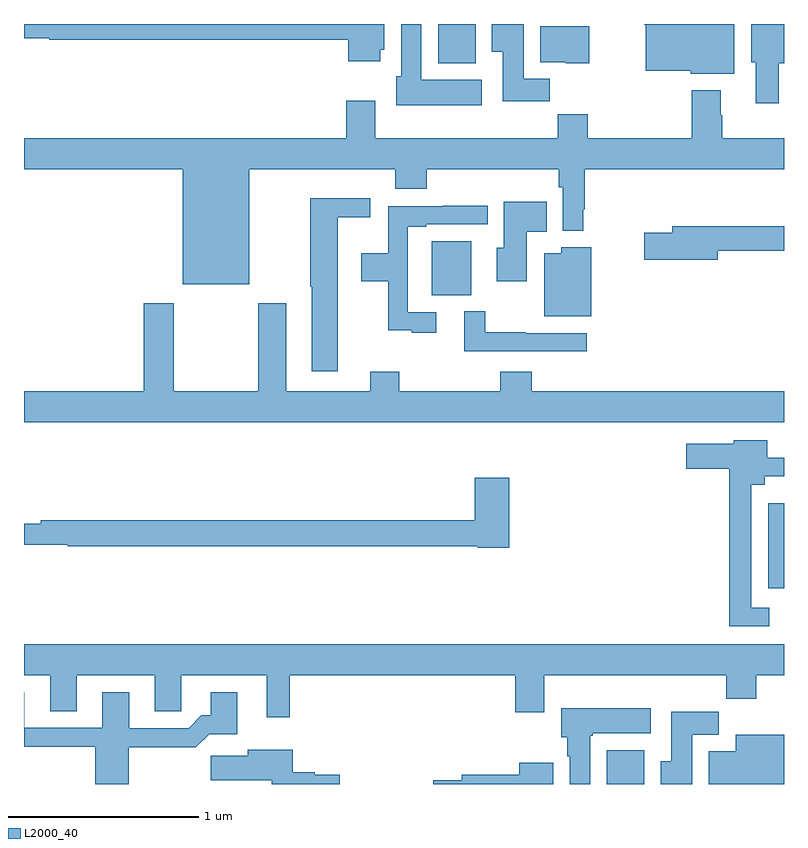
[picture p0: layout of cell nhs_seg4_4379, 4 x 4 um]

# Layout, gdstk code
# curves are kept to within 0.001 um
import gdstk
lib = gdstk.Library(unit=1e-6, precision=1e-09)
def R(c, l, rs):  # rectangles x0, y0, x1, y1
    for r in rs: c.add(gdstk.rectangle(r[:2], r[2:], *l))
def P(c, l, *ps):  # polygons
    for p in ps: c.add(gdstk.Polygon(p, *l))
L2000_40 = (2000, 40)

nhs_seg4_4379 = lib.new_cell('nhs_seg4_4379')
R(nhs_seg4_4379, L2000_40, [(348.068,810.9,348.265,811.078), (348.917,811.929,349,812.377), (347.147,813.473,347.353,813.757), (347.18,814.694,347.377,814.9)])
P(nhs_seg4_4379, L2000_40, [(348.739,814.9),(348.265,814.9),(348.265,814.895),(348.272,814.895),(348.272,814.655),(348.51,814.655),(348.51,814.637),(348.739,814.637)],
  [(347.41,814.606),(347.092,814.606),(347.092,814.9),(346.985,814.9),(346.985,814.626),(346.958,814.626),(346.958,814.472),(347.41,814.472)],
  [(346.876,814.764),(346.897,814.764),(346.897,814.9),(345,814.9),(345,814.824),(345.132,814.824),(345.132,814.816),(346.706,814.816),(346.706,814.704),(346.876,814.704)],
  [(347.768,814.612),(347.629,814.612),(347.629,814.9),(347.462,814.9),(347.462,814.753),(347.519,814.753),(347.519,814.494),(347.768,814.494)],
  [(348.973,814.694),(349,814.694),(349,814.9),(348.827,814.9),(348.827,814.698),(348.851,814.698),(348.851,814.482),(348.973,814.482)],
  [(347.976,814.888),(347.717,814.888),(347.717,814.7),(347.85,814.7),(347.85,814.694),(347.976,814.694)],
  [(346.186,814.136),(346.955,814.136),(346.955,814.034),(347.12,814.034),(347.12,814.136),(347.815,814.136),(347.815,814.04),(347.835,814.04),(347.835,813.813),(347.944,813.813),(347.944,813.925),(347.951,813.925),(347.951,814.136),(349,814.136),(349,814.3),(348.675,814.3),(348.675,814.421),(348.667,814.421),(348.667,814.552),(348.515,814.552),(348.515,814.3),(347.966,814.3),(347.966,814.424),(347.809,814.424),(347.809,814.3),(346.849,814.3),(346.849,814.495),(346.697,814.495),(346.697,814.3),(345,814.3),(345,814.136),(345.836,814.136),(345.836,813.53),(346.186,813.53)],
  [(346.651,813.884),(346.822,813.884),(346.822,813.982),(346.507,813.982),(346.507,813.517),(346.514,813.517),(346.514,813.072),(346.651,813.072)],
  [(347.647,813.806),(347.75,813.806),(347.75,813.964),(347.525,813.964),(347.525,813.723),(347.489,813.723),(347.489,813.545),(347.647,813.545)],
  [(347.17,813.384),(347.019,813.384),(347.019,813.834),(347.116,813.834),(347.116,813.846),(347.44,813.846),(347.44,813.944),(347.203,813.944),(347.203,813.942),(346.918,813.942),(346.918,813.694),(346.776,813.694),(346.776,813.547),(346.918,813.547),(346.918,813.287),(347.042,813.287),(347.042,813.276),(347.17,813.276)],
  [(348.652,813.706),(349,813.706),(349,813.835),(348.413,813.835),(348.413,813.801),(348.264,813.801),(348.264,813.659),(348.652,813.659)],
  [(347.986,813.724),(347.828,813.724),(347.828,813.694),(347.738,813.694),(347.738,813.362),(347.986,813.362)],
  [(349,812.968),(347.672,812.968),(347.672,813.07),(347.507,813.07),(347.507,812.968),(346.976,812.968),(346.976,813.07),(346.823,813.07),(346.823,812.968),(346.381,812.968),(346.381,813.43),(346.234,813.43),(346.234,812.968),(345.789,812.968),(345.789,813.43),(345.629,813.43),(345.629,812.968),(345,812.968),(345,812.804),(349,812.804)],
  [(347.962,813.273),(347.642,813.273),(347.642,813.278),(347.428,813.278),(347.428,813.388),(347.318,813.388),(347.318,813.177),(347.962,813.177)],
  [(348.922,811.827),(348.828,811.827),(348.828,812.474),(348.898,812.474),(348.898,812.52),(349,812.52),(349,812.616),(348.913,812.616),(348.913,812.71),(348.735,812.71),(348.735,812.692),(348.486,812.692),(348.486,812.558),(348.712,812.558),(348.712,811.731),(348.922,811.731)],
  [(347.555,812.512),(347.372,812.512),(347.372,812.288),(345.088,812.288),(345.088,812.269),(345,812.269),(345,812.16),(345.23,812.16),(345.23,812.152),(347.388,812.152),(347.388,812.144),(347.555,812.144)],
  [(345,811.472),(345.137,811.472),(345.137,811.282),(345.277,811.282),(345.277,811.472),(345.689,811.472),(345.689,811.282),(345.828,811.282),(345.828,811.472),(346.277,811.472),(346.277,811.251),(346.399,811.251),(346.399,811.472),(347.585,811.472),(347.585,811.278),(347.737,811.278),(347.737,811.472),(348.697,811.472),(348.697,811.348),(348.854,811.348),(348.854,811.472),(349,811.472),(349,811.636),(345,811.636)],
  [(345.552,811.094),(345.905,811.094),(345.974,811.163),(346.123,811.163),(346.123,811.384),(345.983,811.384),(345.983,811.261),(345.934,811.261),(345.867,811.194),(345.553,811.194),(345.553,811.384),(345.413,811.384),(345.413,811.197),(345.001,811.197),(345,811.384),(345,811.096),(345.374,811.096),(345.374,810.9),(345.552,810.9)],
  [(347.98,811.153),(347.994,811.153),(347.994,811.166),(348.298,811.166),(348.298,811.3),(347.828,811.3),(347.828,811.146),(347.858,811.146),(347.858,811.046),(347.873,811.046),(347.873,810.9),(347.98,810.9)],
  [(348.517,811.16),(348.656,811.16),(348.656,811.279),(348.407,811.279),(348.407,811.02),(348.35,811.02),(348.35,810.9),(348.517,810.9)],
  [(349,811.159),(348.746,811.159),(348.746,811.072),(348.605,811.072),(348.605,810.9),(349,810.9)],
  [(346.662,810.949),(346.53,810.949),(346.53,810.962),(346.414,810.962),(346.414,811.081),(346.178,811.081),(346.178,811.049),(345.984,811.049),(345.984,810.92),(346.304,810.92),(346.304,810.9),(346.662,810.9)],
  [(347.785,811.012),(347.606,811.012),(347.606,810.95),(347.303,810.95),(347.303,810.92),(347.154,810.92),(347.154,810.9),(347.785,810.9)])

lib.write_gds('nhs_seg4_4379.gds')
